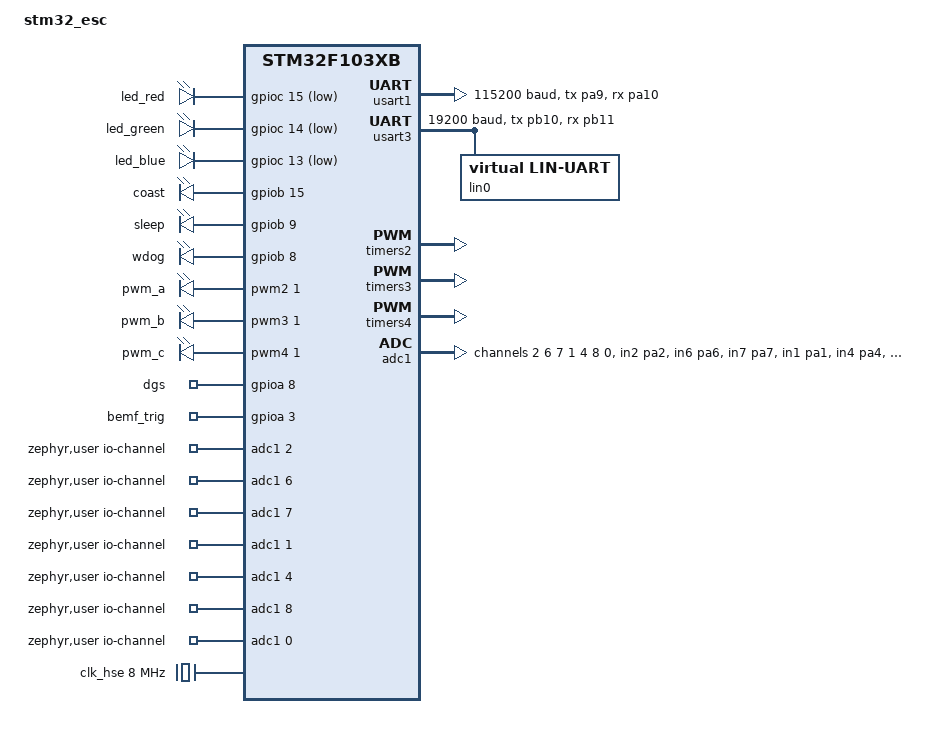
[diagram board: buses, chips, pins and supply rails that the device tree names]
/dts-v1/;
#include <st/f1/stm32f103Xb.dtsi>
#include <st/f1/stm32f103c(8-b)tx-pinctrl.dtsi>
#include <zephyr/dt-bindings/adc/adc.h>
#include <zephyr/dt-bindings/pwm/pwm.h>
#include <zephyr/dt-bindings/pinctrl/stm32f1-pinctrl.h>

/ {
	model = "stm32_esc";
	compatible = "stm32_esc";

	chosen {
		zephyr,console = &usart1;
        zephyr,shell-uart = &usart1;
		zephyr,sram = &sram0;
		zephyr,flash = &flash0;
	};

    aliases {
        led0 = &led_red;
        led1 = &led_green;
        led2 = &led_blue;
    };

	leds {
        compatible = "gpio-leds";
        led_red: led_red {
            gpios = <&gpioc 15 GPIO_ACTIVE_LOW>;
        };
        led_green: led_green {
            gpios = <&gpioc 14 GPIO_ACTIVE_LOW>;
        };
        led_blue: led_blue {
            gpios = <&gpioc 13 GPIO_ACTIVE_LOW>;
        };
		coast: coast {
			gpios = <&gpiob 15 GPIO_ACTIVE_HIGH>;
		};
		sleep: sleep {
			gpios = <&gpiob 9 GPIO_ACTIVE_HIGH>;
		};
		wdog: wdog {
			gpios = <&gpiob 8 GPIO_ACTIVE_HIGH>;
		};
    };

	pwmleds {
        compatible = "pwm-leds";
        pwm_a: pwm_a  {
            pwms = <&pwm2 1 PWM_KHZ(24) PWM_POLARITY_INVERTED>, // HSD
				   <&pwm2 2 PWM_KHZ(24) PWM_POLARITY_INVERTED>; // LSD
        };
		pwm_b: pwm_b  {
            pwms = <&pwm3 1 PWM_KHZ(24) PWM_POLARITY_INVERTED>, // HSD
				   <&pwm3 2 PWM_KHZ(24) PWM_POLARITY_INVERTED>; // LSD
        };
		pwm_c: pwm_c  {
            pwms = <&pwm4 1 PWM_KHZ(24) PWM_POLARITY_INVERTED>, // HSD
				   <&pwm4 2 PWM_KHZ(24) PWM_POLARITY_INVERTED>; // LSD
        };
    };

	gpio_keys {
		compatible = "gpio-keys";
		dgs: dgs {
			gpios = <&gpioa 8  GPIO_ACTIVE_HIGH>, // DG1
					<&gpioa 11 GPIO_ACTIVE_HIGH>, // DG2
					<&gpioa 12 GPIO_ACTIVE_HIGH>; // DG3
		};
		bemf_trig: bemf_trig {
			gpios = <&gpioa 3 GPIO_ACTIVE_HIGH>, // A
					<&gpioa 5 GPIO_ACTIVE_HIGH>, // B
					<&gpiob 1 GPIO_ACTIVE_HIGH>; // C
		};
	};
};

&clk_hse {
	clock-frequency = <DT_FREQ_M(8)>;
	status = "okay";
};

&pll {
	mul = <9>;
	clocks = <&clk_hse>;
	status = "okay";
};

&rcc {
	clocks = <&pll>;
	clock-frequency = <DT_FREQ_M(72)>;
	ahb-prescaler = <1>;
	apb1-prescaler = <2>;
	apb2-prescaler = <1>;
};

&pinctrl {
	swj-cfg = "jtag-disable";

	// bug in code generator :(
	/omit-if-no-ref/ tim3_ch1_remap2_pwm_pb4: tim3_ch1_remap2_pwm_pb4 {
		pinmux = <STM32F1_PINMUX('B', 4, ALTERNATE, TIM3_REMAP2)>;
	};

	/omit-if-no-ref/ tim3_ch2_remap2_pwm_pb5: tim3_ch2_remap2_pwm_pb5 {
		pinmux = <STM32F1_PINMUX('B', 5, ALTERNATE, TIM3_REMAP2)>;
	};
};

&usart1 {
	pinctrl-0 = <&usart1_tx_pa9 &usart1_rx_pa10>;
	pinctrl-names = "default";
	current-speed = <115200>;
	status = "okay";
};

&usart3 {
	pinctrl-0 = <&usart3_tx_pb10 &usart3_rx_pb11>;
	pinctrl-names = "default";
	current-speed = <19200>;
	status = "okay";

    lin0: lin0 {
        compatible = "virtual,lin-uart";
        status = "okay";
        bitrate = <19200>;
        max-wait-percent = <200>;
    };
};

&timers2 {
    pwm2: pwm {
        pinctrl-0 = <&tim2_ch1_remap1_pwm_out_pa15 &tim2_ch2_remap1_pwm_out_pb3>;
        pinctrl-names = "default";
        status = "okay";
    };
    status = "okay";
};

&timers3 {
    pwm3: pwm {
        pinctrl-0 = <&tim3_ch1_remap2_pwm_pb4 &tim3_ch2_remap2_pwm_pb5>;
        pinctrl-names = "default";
        status = "okay";
    };
    status = "okay";
};

&timers4 {
    pwm4: pwm {
        pinctrl-0 = <&tim4_ch1_pwm_out_pb6 &tim4_ch2_pwm_out_pb7>;
        pinctrl-names = "default";
        status = "okay";
    };
    status = "okay";
};

&adc1 {
	pinctrl-0 = <&adc1_in2_pa2 &adc1_in6_pa6 &adc1_in7_pa7 // pa2=BEMF_A,   pa6=BEMF_B,   pa7=BEMF_C
				 &adc1_in1_pa1 &adc1_in4_pa4 &adc1_in8_pb0 // pa1=iSense_A, pa4=iSense_B, pb0=iSense_C
				 &adc1_in0_pa0>;						   // pa0=VBUS
	pinctrl-names = "default";
	status = "okay";

	#address-cells = <1>;
	#size-cells = <0>;

	// BEMF
	channel@2 {
		reg = <2>;
		zephyr,gain = "ADC_GAIN_1";
		zephyr,reference = "ADC_REF_INTERNAL";
		zephyr,acquisition-time = <ADC_ACQ_TIME_DEFAULT>;
		zephyr,vref-mv = <36300>;
		zephyr,resolution = <12>;
	};

	channel@6 {
		reg = <6>;
		zephyr,gain = "ADC_GAIN_1";
		zephyr,reference = "ADC_REF_INTERNAL";
		zephyr,acquisition-time = <ADC_ACQ_TIME_DEFAULT>;
		zephyr,vref-mv = <36300>;
		zephyr,resolution = <12>;
	};

	channel@7 {
		reg = <7>;
		zephyr,gain = "ADC_GAIN_1";
		zephyr,reference = "ADC_REF_INTERNAL";
		zephyr,acquisition-time = <ADC_ACQ_TIME_DEFAULT>;
		zephyr,vref-mv = <36300>;
		zephyr,resolution = <12>;
	};

	// iSense
	channel@1 {
		reg = <1>;
		zephyr,gain = "ADC_GAIN_1";
		zephyr,reference = "ADC_REF_INTERNAL";
		zephyr,acquisition-time = <ADC_ACQ_TIME_DEFAULT>;
		zephyr,vref-mv = <30000>; // mA
		zephyr,resolution = <12>;
	};

	channel@4 {
		reg = <4>;
		zephyr,gain = "ADC_GAIN_1";
		zephyr,reference = "ADC_REF_INTERNAL";
		zephyr,acquisition-time = <ADC_ACQ_TIME_DEFAULT>;
		zephyr,vref-mv = <30000>; // mA
		zephyr,resolution = <12>;
	};

	channel@8 {
		reg = <8>;
		zephyr,gain = "ADC_GAIN_1";
		zephyr,reference = "ADC_REF_INTERNAL";
		zephyr,acquisition-time = <ADC_ACQ_TIME_DEFAULT>;
		zephyr,vref-mv = <30000>; // mA
		zephyr,resolution = <12>;
	};

	// VBUS
	channel@0 {
		reg = <0>;
		zephyr,gain = "ADC_GAIN_1";
		zephyr,reference = "ADC_REF_INTERNAL";
		zephyr,acquisition-time = <ADC_ACQ_TIME_DEFAULT>;
		zephyr,vref-mv = <36300>;
		zephyr,resolution = <12>;
	};
};

/ {
	zephyr,user {
		io-channels = <&adc1 2>, <&adc1 6>, <&adc1 7>, 
					  <&adc1 1>, <&adc1 4>, <&adc1 8>,
					  <&adc1 0>;
	};
};
